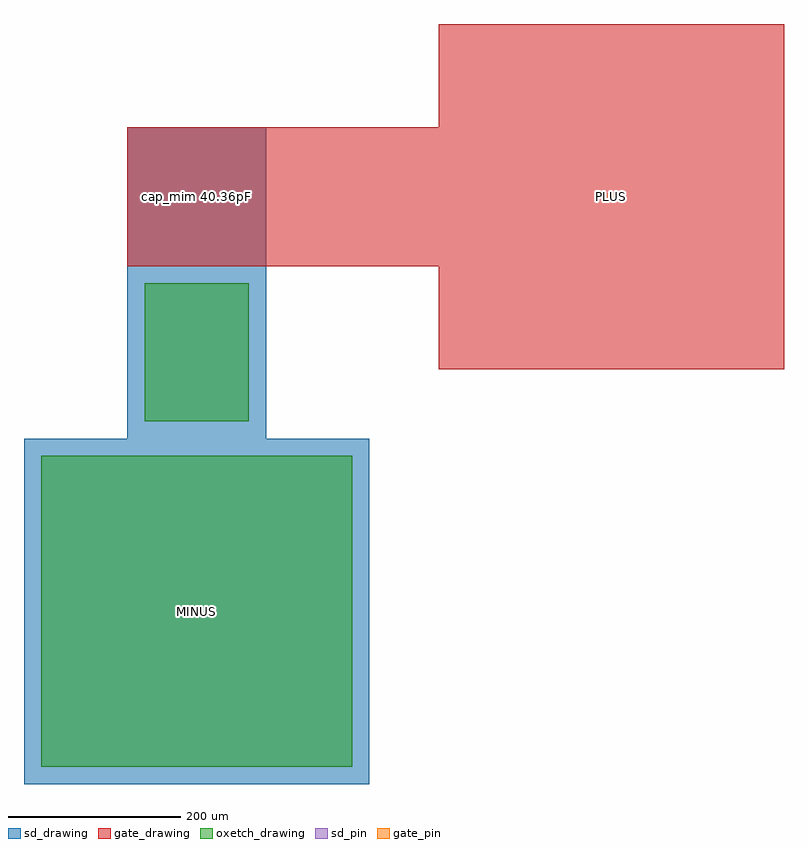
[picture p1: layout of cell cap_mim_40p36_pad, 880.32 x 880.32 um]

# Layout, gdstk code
import gdstk
lib = gdstk.Library(unit=1e-6, precision=1e-09)
def R(c, l, rs):  # rectangles x0, y0, x1, y1
    for r in rs: c.add(gdstk.rectangle(r[:2], r[2:], *l))
gate_drawing = (2, 0)
gate_pin = (2, 10)
oxetch_drawing = (5, 0)
sd_drawing = (6, 0)
sd_pin = (6, 10)

cap_mim_40p36_pad = lib.new_cell('cap_mim_40p36_pad')
R(cap_mim_40p36_pad, gate_drawing, [(280.32,-200,680.32,200), (-80.32,-80.32,280.32,80.32)])
R(cap_mim_40p36_pad, gate_pin, [(476.3,-4.02,484.34,4.02)])
R(cap_mim_40p36_pad, oxetch_drawing, [(-180,-660.32,180,-300.32), (-60.32,-260.32,60.32,-100.32)])
R(cap_mim_40p36_pad, sd_drawing, [(-200,-680.32,200,-280.32), (-80.32,-280.32,80.32,80.32)])
R(cap_mim_40p36_pad, sd_pin, [(-4.02,-484.34,4.02,-476.3)])
cap_mim_40p36_pad.add(gdstk.Label('MINUS', (0,-480.32), layer=6, texttype=10))
cap_mim_40p36_pad.add(gdstk.Label('PLUS', (480.32,0), layer=2, texttype=10))
cap_mim_40p36_pad.add(gdstk.Label('cap_mim 40.36pF', (0,0), layer=63, texttype=0))

lib.write_gds('cap_mim_40p36_pad.gds')
